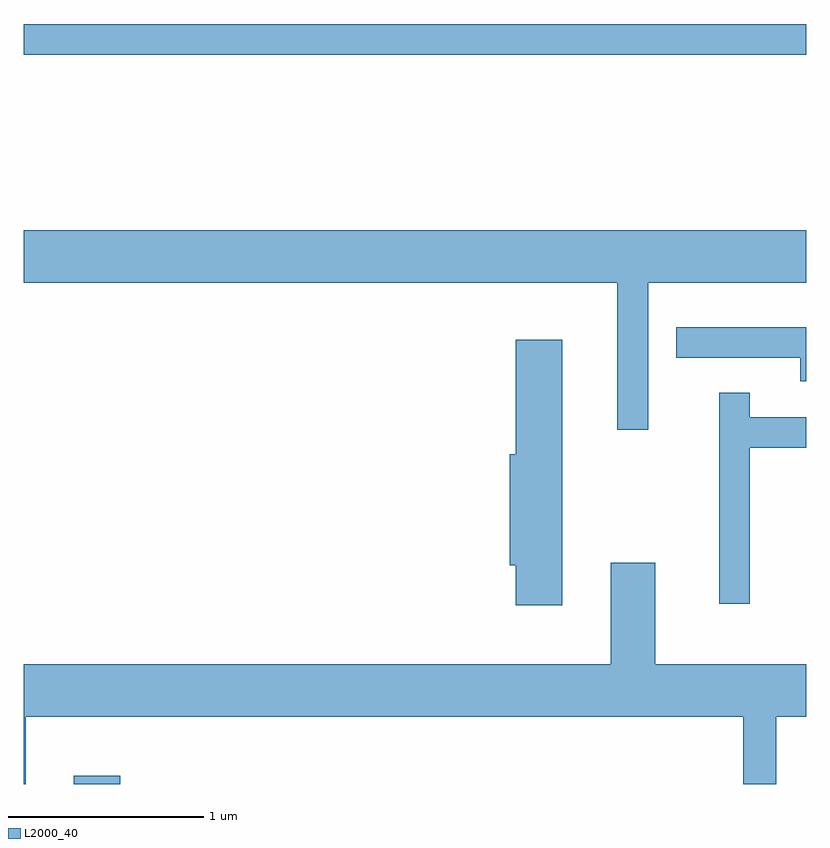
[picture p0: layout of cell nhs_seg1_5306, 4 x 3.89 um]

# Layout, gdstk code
import gdstk
lib = gdstk.Library(unit=1e-6, precision=1e-09)
def R(c, l, rs):  # rectangles x0, y0, x1, y1
    for r in rs: c.add(gdstk.rectangle(r[:2], r[2:], *l))
def P(c, l, *ps):  # polygons
    for p in ps: c.add(gdstk.Polygon(p, *l))
L2000_40 = (2000, 40)

nhs_seg1_5306 = lib.new_cell('nhs_seg1_5306')
R(nhs_seg1_5306, L2000_40, [(345.866,863.712,346.104,863.754), (345.611,867.441,349.611,867.599)])
P(nhs_seg1_5306, L2000_40, [(348.804,866.276),(349.611,866.276),(349.611,866.544),(345.611,866.544),(345.611,866.276),(348.646,866.276),(348.646,865.523),(348.804,865.523)],
  [(349.611,866.049),(348.948,866.049),(348.948,865.891),(349.581,865.891),(349.581,865.771),(349.611,865.771)],
  [(348.364,865.984),(348.126,865.984),(348.126,865.399),(348.096,865.399),(348.096,864.831),(348.126,864.831),(348.126,864.626),(348.364,864.626)],
  [(349.324,865.431),(349.611,865.431),(349.611,865.589),(349.324,865.589),(349.324,865.713),(349.166,865.713),(349.166,864.633),(349.324,864.633)],
  [(345.619,864.056),(349.291,864.056),(349.291,863.712),(349.459,863.712),(349.459,864.056),(349.611,864.056),(349.611,864.324),(348.839,864.324),(348.839,864.844),(348.611,864.844),(348.611,864.324),(345.611,864.324),(345.611,863.712),(345.619,863.712)])

lib.write_gds('nhs_seg1_5306.gds')
